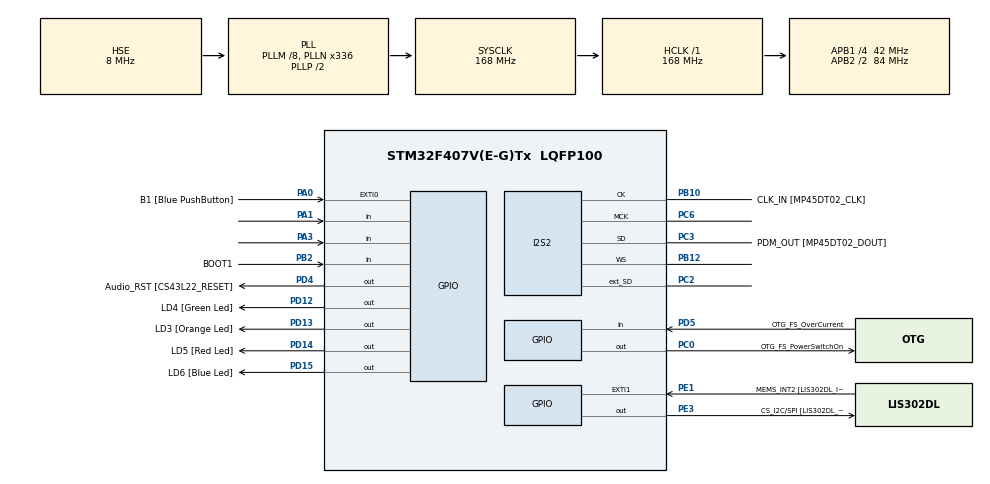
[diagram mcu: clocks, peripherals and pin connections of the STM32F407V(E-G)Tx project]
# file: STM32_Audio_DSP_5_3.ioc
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Dma.I2S2_EXT_RX.0.Direction=DMA_PERIPH_TO_MEMORY
Dma.I2S2_EXT_RX.0.FIFOMode=DMA_FIFOMODE_DISABLE
Dma.I2S2_EXT_RX.0.Instance=DMA1_Stream3
Dma.I2S2_EXT_RX.0.MemDataAlignment=DMA_MDATAALIGN_HALFWORD
Dma.I2S2_EXT_RX.0.MemInc=DMA_MINC_ENABLE
Dma.I2S2_EXT_RX.0.Mode=DMA_CIRCULAR
Dma.I2S2_EXT_RX.0.PeriphDataAlignment=DMA_PDATAALIGN_HALFWORD
Dma.I2S2_EXT_RX.0.PeriphInc=DMA_PINC_DISABLE
Dma.I2S2_EXT_RX.0.Priority=DMA_PRIORITY_HIGH
Dma.Request0=I2S2_EXT_RX
Dma.Request1=SPI2_TX
Dma.SPI2_TX.1.Direction=DMA_MEMORY_TO_PERIPH
Dma.SPI2_TX.1.FIFOMode=DMA_FIFOMODE_DISABLE
Dma.SPI2_TX.1.Instance=DMA1_Stream4
Dma.SPI2_TX.1.MemDataAlignment=DMA_MDATAALIGN_HALFWORD
Dma.SPI2_TX.1.MemInc=DMA_MINC_ENABLE
Dma.SPI2_TX.1.Mode=DMA_CIRCULAR
Dma.SPI2_TX.1.PeriphDataAlignment=DMA_PDATAALIGN_HALFWORD
Dma.SPI2_TX.1.PeriphInc=DMA_PINC_DISABLE
Dma.SPI2_TX.1.Priority=DMA_PRIORITY_HIGH
I2S2.AudioFreq=I2S_AUDIOFREQ_96K
I2S2.DataFormat=I2S_DATAFORMAT_24B
I2S2.ErrorAudioFreq=-2.34 %
I2S2.FullDuplexMode=I2S_FULLDUPLEXMODE_ENABLE
I2S2.Instance=SPI$Index
I2S2.RealAudioFreq=93.75 KHz
I2S2.VirtualMode=I2S_MODE_MASTER
Mcu.Family=STM32F4
Mcu.Name=STM32F407V(E-G)Tx
Mcu.Package=LQFP100
NVIC.DMA1_Stream3_IRQn=true\:0\:0\:false\:false\:true\:false\:true
NVIC.DMA1_Stream4_IRQn=true\:0\:0\:false\:false\:true\:false\:true
NVIC.PriorityGroup=NVIC_PRIORITYGROUP_0
PA0-WKUP.GPIO_Label=B1 [Blue PushButton]
PA0-WKUP.GPIO_ModeDefaultEXTI=GPIO_MODE_EVT_RISING
PA0-WKUP.GPIO_PuPd=GPIO_NOPULL
PA0-WKUP.Signal=GPXTI0
PA1.Signal=GPIO_Input
PA10.GPIO_Label=OTG_FS_ID
PA10.GPIO_Mode=GPIO_MODE_AF_PP
PA10.GPIO_PuPd=GPIO_NOPULL
PA10.GPIO_Speed=GPIO_SPEED_FREQ_LOW
PA10.Signal=USB_OTG_FS_ID
PA11.GPIO_Label=OTG_FS_DM
PA11.GPIO_Mode=GPIO_MODE_AF_PP
PA11.GPIO_PuPd=GPIO_NOPULL
PA11.GPIO_Speed=GPIO_SPEED_FREQ_LOW
PA11.Signal=USB_OTG_FS_DM
PA12.GPIO_Label=OTG_FS_DP
PA12.GPIO_Mode=GPIO_MODE_AF_PP
PA12.GPIO_PuPd=GPIO_NOPULL
PA12.GPIO_Speed=GPIO_SPEED_FREQ_LOW
PA12.Signal=USB_OTG_FS_DP
PA13.GPIO_Label=SWDIO
PA13.Mode=Serial_Wire
PA13.Signal=SYS_JTMS-SWDIO
PA14.GPIO_Label=SWCLK
PA14.Mode=Serial_Wire
PA14.Signal=SYS_JTCK-SWCLK
PA3.Signal=GPIO_Input
PA4.GPIO_Label=I2S3_WS [CS43L22_LRCK]
PA4.GPIO_Mode=GPIO_MODE_AF_PP
PA4.GPIO_PuPd=GPIO_NOPULL
PA4.GPIO_Speed=GPIO_SPEED_FREQ_LOW
PA4.Signal=I2S3_WS
PA5.GPIO_Label=SPI1_SCK [LIS302DL_SCL/SPC]
PA5.GPIO_Mode=GPIO_MODE_AF_PP
PA5.GPIO_PuPd=GPIO_NOPULL
PA5.GPIO_Speed=GPIO_SPEED_FREQ_LOW
PA5.Signal=SPI1_SCK
PA6.GPIO_Label=SPI1_MISO [LIS302DL_SDO]
PA6.GPIO_Mode=GPIO_MODE_AF_PP
PA6.GPIO_PuPd=GPIO_NOPULL
PA6.GPIO_Speed=GPIO_SPEED_FREQ_LOW
PA6.Signal=SPI1_MISO
PA7.GPIO_Label=SPI1_MOSI [LIS302DL_SDA/SDI/SDO]
PA7.GPIO_Mode=GPIO_MODE_AF_PP
PA7.GPIO_PuPd=GPIO_NOPULL
PA7.GPIO_Speed=GPIO_SPEED_FREQ_LOW
PA7.Signal=SPI1_MOSI
PA9.GPIO_Label=VBUS_FS
PA9.GPIO_Mode=GPIO_MODE_INPUT
PA9.GPIO_PuPd=GPIO_NOPULL
PA9.Signal=USB_OTG_FS_VBUS
PB10.GPIO_Label=CLK_IN [MP45DT02_CLK]
PB10.GPIO_Mode=GPIO_MODE_AF_PP
PB10.GPIO_PuPd=GPIO_NOPULL
PB10.GPIO_Speed=GPIO_SPEED_FREQ_VERY_HIGH
PB10.Mode=Full_Duplex_Master
PB10.Signal=I2S2_CK
PB12.GPIO_Speed=GPIO_SPEED_FREQ_VERY_HIGH
PB12.Mode=Full_Duplex_Master
PB12.Signal=I2S2_WS
PB2.GPIO_Label=BOOT1
PB2.GPIO_Mode=GPIO_MODE_INPUT
PB2.GPIO_PuPd=GPIO_NOPULL
PB2.Signal=GPIO_Input
PB3.GPIO_Label=SWO
PB3.Signal=SYS_JTDO-SWO
PB6.GPIO_Label=Audio_SCL [CS43L22_SCL]
PB6.GPIO_Mode=GPIO_MODE_AF_OD
PB6.GPIO_PuPd=GPIO_NOPULL
PB6.GPIO_Speed=GPIO_SPEED_FREQ_LOW
PB6.Signal=I2C1_SCL
PB9.GPIO_Label=Audio_SDA [CS43L22_SDA]
PB9.GPIO_Mode=GPIO_MODE_AF_OD
PB9.GPIO_PuPd=GPIO_NOPULL
PB9.GPIO_Speed=GPIO_SPEED_FREQ_LOW
PB9.Signal=I2C1_SDA
PC0.GPIO_Label=OTG_FS_PowerSwitchOn
PC0.GPIO_PuPd=GPIO_NOPULL
PC0.GPIO_Speed=GPIO_SPEED_FREQ_LOW
PC0.PinState=GPIO_PIN_SET
PC0.Signal=GPIO_Output
PC10.GPIO_Label=I2S3_SCK [CS43L22_SCLK]
PC10.GPIO_Mode=GPIO_MODE_AF_PP
PC10.GPIO_PuPd=GPIO_NOPULL
PC10.GPIO_Speed=GPIO_SPEED_FREQ_LOW
PC10.Signal=I2S3_CK
PC12.GPIO_Label=I2S3_SD [CS43L22_SDIN]
PC12.GPIO_Mode=GPIO_MODE_AF_PP
PC12.GPIO_PuPd=GPIO_NOPULL
PC12.GPIO_Speed=GPIO_SPEED_FREQ_LOW
PC12.Signal=I2S3_SD
PC14-OSC32_IN.GPIO_Label=PC14-OSC32_IN
PC14-OSC32_IN.Mode=LSE-External-Oscillator
PC14-OSC32_IN.Signal=RCC_OSC32_IN
PC15-OSC32_OUT.GPIO_Label=PC15-OSC32_OUT
PC15-OSC32_OUT.Mode=LSE-External-Oscillator
PC15-OSC32_OUT.Signal=RCC_OSC32_OUT
PC2.GPIO_Speed=GPIO_SPEED_FREQ_VERY_HIGH
PC2.Mode=Full_Duplex_Master
PC2.Signal=I2S2_ext_SD
PC3.GPIO_Label=PDM_OUT [MP45DT02_DOUT]
PC3.GPIO_Mode=GPIO_MODE_AF_PP
PC3.GPIO_PuPd=GPIO_NOPULL
PC3.GPIO_Speed=GPIO_SPEED_FREQ_VERY_HIGH
PC3.Mode=Full_Duplex_Master
PC3.Signal=I2S2_SD
PC6.GPIO_Speed=GPIO_SPEED_FREQ_VERY_HIGH
PC6.Mode=Master_Clock_Activated
PC6.Signal=I2S2_MCK
PC7.GPIO_Label=I2S3_MCK [CS43L22_MCLK]
PC7.GPIO_Mode=GPIO_MODE_AF_PP
PC7.GPIO_PuPd=GPIO_NOPULL
PC7.GPIO_Speed=GPIO_SPEED_FREQ_LOW
PC7.Signal=I2S3_MCK
PD12.GPIO_Label=LD4 [Green Led]
PD12.GPIO_PuPd=GPIO_NOPULL
PD12.GPIO_Speed=GPIO_SPEED_FREQ_LOW
PD12.Signal=GPIO_Output
PD13.GPIO_Label=LD3 [Orange Led]
PD13.GPIO_PuPd=GPIO_NOPULL
PD13.GPIO_Speed=GPIO_SPEED_FREQ_LOW
PD13.Signal=GPIO_Output
PD14.GPIO_Label=LD5 [Red Led]
PD14.GPIO_PuPd=GPIO_NOPULL
PD14.GPIO_Speed=GPIO_SPEED_FREQ_LOW
PD14.Signal=GPIO_Output
PD15.GPIO_Label=LD6 [Blue Led]
PD15.GPIO_PuPd=GPIO_NOPULL
PD15.GPIO_Speed=GPIO_SPEED_FREQ_LOW
PD15.Signal=GPIO_Output
PD4.GPIO_Label=Audio_RST [CS43L22_RESET]
PD4.GPIO_PuPd=GPIO_NOPULL
PD4.GPIO_Speed=GPIO_SPEED_FREQ_LOW
PD4.Signal=GPIO_Output
PD5.GPIO_Label=OTG_FS_OverCurrent
PD5.GPIO_Mode=GPIO_MODE_INPUT
PD5.GPIO_PuPd=GPIO_NOPULL
PD5.Signal=GPIO_Input
PE1.GPIO_Label=MEMS_INT2 [LIS302DL_INT2]
PE1.GPIO_ModeDefaultEXTI=GPIO_MODE_EVT_RISING
PE1.GPIO_PuPd=GPIO_NOPULL
PE1.Signal=GPXTI1
PE3.GPIO_Label=CS_I2C/SPI [LIS302DL_CS_I2C/SPI]
PE3.GPIO_PuPd=GPIO_NOPULL
PE3.GPIO_Speed=GPIO_SPEED_FREQ_VERY_HIGH
PE3.Signal=GPIO_Output
PH0-OSC_IN.GPIO_Label=PH0-OSC_IN
PH0-OSC_IN.Mode=HSE-External-Oscillator
PH0-OSC_IN.Signal=RCC_OSC_IN
PH1-OSC_OUT.GPIO_Label=PH1-OSC_OUT
PH1-OSC_OUT.Mode=HSE-External-Oscillator
PH1-OSC_OUT.Signal=RCC_OSC_OUT
ProjectManager.HeapSize=0x200
ProjectManager.StackSize=0x400
ProjectManager.TargetToolchain=STM32CubeIDE
RCC.48MHZClocksFreq_Value=48000000
RCC.AHBFreq_Value=168000000
RCC.APB1CLKDivider=RCC_HCLK_DIV4
RCC.APB1Freq_Value=42000000
RCC.APB1TimFreq_Value=84000000
RCC.APB2CLKDivider=RCC_HCLK_DIV2
RCC.APB2Freq_Value=84000000
RCC.APB2TimFreq_Value=168000000
RCC.CortexFreq_Value=168000000
RCC.HCLKFreq_Value=168000000
RCC.HSE_VALUE=8000000
RCC.HSI_VALUE=16000000
RCC.PLLM=8
RCC.PLLN=336
RCC.PLLQ=7
RCC.PLLSourceVirtual=RCC_PLLSOURCE_HSE
RCC.SYSCLKFreq_VALUE=168000000
RCC.SYSCLKSource=RCC_SYSCLKSOURCE_PLLCLK
RCC.VCOOutputFreq_Value=336000000
board=STM32F407G-DISC1

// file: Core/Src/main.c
/* USER CODE BEGIN Header */
/**
 ******************************************************************************
 * @file           : main.c
 * USER CODE BEGIN Header */
/**
 ******************************************************************************
 * @file           : main.c
 * @brief          : Main program body
 ******************************************************************************
 * @attention
 *
 * <h2><center>&copy; Copyright (c) 2021 STMicroelectronics.
 * All rights reserved.</center></h2>
 *
 * This software component is licensed by ST under Ultimate Liberty license
 * SLA0044, the "License"; You may not use this file except in compliance with
 * the License. You may obtain a copy of the License at:
 *                             www.st.com/SLA0044
 *
 ******************************************************************************
 */
/* USER CODE END Header */
#include "main.h"

I2S_HandleTypeDef hi2s2;
DMA_HandleTypeDef hdma_i2s2_ext_rx;
DMA_HandleTypeDef hdma_spi2_tx;

void SystemClock_Config(void);
static void MX_GPIO_Init(void);
static void MX_DMA_Init(void);
static void MX_I2S2_Init(void);
/* USER CODE BEGIN PFP */
float l_b0, l_b1, l_b2, l_a1, l_a2, l_in_z1, l_in_z2, l_out_z1, l_out_z2;
float r_b0, r_b1, r_b2, r_a1, r_a2, r_in_z1, r_in_z2, r_out_z1, r_out_z2;

uint16_t receiveBuffer[8];
uint16_t transmitBuffer[8];
/* USER CODE END PFP */

/* USER CODE BEGIN 0 */
int IIR_filter_left(int inSample)
{
	float inSampleF = (float) inSample;
	float outSampleF = l_b0 * inSampleF + l_b1 * l_in_z1 + l_b2 * l_in_z2 - l_a1 * l_out_z1 - l_a2 * l_out_z2;
	l_in_z2 = l_in_z1;
	l_in_z1 = inSampleF;
	l_out_z2 = l_out_z1;
	l_out_z1 = outSampleF;

	return (int) outSampleF;
}

int IIR_filter_right(int inSample)
{
	float inSampleF = (float) inSample;
	float outSampleF = r_b0 * inSampleF + r_b1 * r_in_z1 + r_b2 * r_in_z2 - r_a1 * r_out_z1 - r_a2 * r_out_z2;
	r_in_z2 = r_in_z1;
	r_in_z1 = inSampleF;
	r_out_z2 = r_out_z1;
	r_out_z1 = outSampleF;

	return (int) outSampleF;
}

void HAL_I2SEx_TxRxHalfCpltCallback(I2S_HandleTypeDef *hi2s)
{

	//restore signed 24 bit sample from 16-bit buffers
	int leftSample = (int) (receiveBuffer[0] << 16) | receiveBuffer[1];
	int rightSample = (int) (receiveBuffer[2] << 16) | receiveBuffer[3];

	// divide by 2 (rightshift) -> -3dB per sample
	leftSample = leftSample >> 1;
	rightSample = rightSample >> 1;

	//sum to mono
	leftSample = rightSample + leftSample;
	rightSample = leftSample;

	//run HP on left channel and LP on right channel
	leftSample = IIR_filter_left(leftSample);
	rightSample = IIR_filter_right(rightSample);

	//restore to buffer
	transmitBuffer[0] = (leftSample >> 16) & 0xFFFF;
	transmitBuffer[1] = leftSample & 0xFFFF;
	transmitBuffer[2] = (rightSample >> 16) & 0xFFFF;
	transmitBuffer[3] = rightSample & 0xFFFF;
}

void HAL_I2SEx_TxRxCpltCallback(I2S_HandleTypeDef *hi2s)
{

	//restore signed 24 bit sample from 16-bit buffers
	int lSample = (int) (receiveBuffer[4] << 16) | receiveBuffer[5];
	int rSample = (int) (receiveBuffer[6] << 16) | receiveBuffer[7];

	// divide by 2 (rightshift) -> -3dB per sample
	lSample = lSample >> 1;
	rSample = rSample >> 1;

	//sum to mono
	lSample = rSample + lSample;
	rSample = lSample;

	//run HP on left channel and LP on right channel
	lSample = IIR_filter_left(lSample);
	rSample = IIR_filter_right(rSample);

	//restore to buffer
	transmitBuffer[4] = (lSample >> 16) & 0xFFFF;
	transmitBuffer[5] = lSample & 0xFFFF;
	transmitBuffer[6] = (rSample >> 16) & 0xFFFF;
	transmitBuffer[7] = rSample & 0xFFFF;
}
/* USER CODE END 0 */

int main(void)
{

	/* MCU Configuration--------------------------------------------------------*/

	/* Reset of all peripherals, Initializes the Flash interface and the Systick. */
	HAL_Init();

	/* Configure the system clock */
	SystemClock_Config();

	/* Initialize all configured peripherals */
	MX_GPIO_Init();
	MX_DMA_Init();
	MX_I2S2_Init();
	/* USER CODE BEGIN 2 */
	HAL_I2SEx_TransmitReceive_DMA(&hi2s2, transmitBuffer, receiveBuffer, 4);

	//left-channel, High-Pass, 1kHz, fs=96kHz, 6dB gain
	l_a1 = -1.906833264418934300f;
	l_a2 = 0.910988023112541900f;
	l_b0 = 1.904390807532743590f;
	l_b1 = -3.808773325232035050f;
	l_b2 = 1.904390807532743590f;

	//right-channel, Low-Pass, 1kHz, fs=96 kHz, 6dB gain
	r_a1 = -1.907661506666765700f;
	r_a2 = 0.911744272786167320f;
	r_b0 = 0.003941726449675004f;
	r_b1 = 0.000262736479523942f;
	r_b2 = 0.003941726449675004f;

	/* USER CODE END 2 */

	/* Infinite loop */
	while (1)
	{
		HAL_Delay(2000);
//		if (HAL_GPIO_ReadPin(GPIOA, GPIO_PIN_1) == 1)
//		{
		//left-channel, High-Pass, 1kHz, fs=96kHz, q=0.7
		//left-channel, High-Pass, 1kHz, fs=96kHz, 6dB gain
		l_a1 = -1.906833264418934300f;
		l_a2 = 0.910988023112541900f;
		l_b0 = 1.904390807532743590f;
		l_b1 = -3.808773325232035050f;
		l_b2 = 1.904390807532743590f;

		//right-channel, Low-Pass, 1kHz, fs=96 kHz, 6dB gain
		r_a1 = -1.907661506666765700f;
		r_a2 = 0.911744272786167320f;
		r_b0 = 0.003941726449675004f;
		r_b1 = 0.000262736479523942f;
		r_b2 = 0.003941726449675004f;
//		}
//		else
//		{
		HAL_Delay(2000);

		//left-channel, High-Pass, 2kHz, fs=96kHz, 6dB gain
		l_a1 = -1.814448746260680870f;
		l_a2 = 0.830272350139270143f;
		l_b0 = 1.818051556114848920f;
		l_b1 = -3.636071539989181640f;
		l_b2 = 1.818051556114848920f;

		//right-channel, Low-Pass, 2kHz, fs=96 kHz, 6dB gain
		r_a1 = -1.816089287935643170f;
		r_a2 = 0.831645104057007201f;
		r_b0 = 0.009579030163824585f;
		r_b1 = 0.011879873357893813f;
		r_b2 = 0.009579030163824585f;

//	}
	}
}

void SystemClock_Config(void)
{
	RCC_OscInitTypeDef RCC_OscInitStruct =
	{ 0 };
	RCC_ClkInitTypeDef RCC_ClkInitStruct =
	{ 0 };
	RCC_PeriphCLKInitTypeDef PeriphClkInitStruct =
	{ 0 };

	/** Configure the main internal regulator output voltage
	 */
	__HAL_RCC_PWR_CLK_ENABLE();
	__HAL_PWR_VOLTAGESCALING_CONFIG(PWR_REGULATOR_VOLTAGE_SCALE1);
	/** Initializes the RCC Oscillators according to the specified parameters
	 * in the RCC_OscInitTypeDef structure.
	 */
	RCC_OscInitStruct.OscillatorType = RCC_OSCILLATORTYPE_HSE;
	RCC_OscInitStruct.HSEState = RCC_HSE_ON;
	RCC_OscInitStruct.PLL.PLLState = RCC_PLL_ON;
	RCC_OscInitStruct.PLL.PLLSource = RCC_PLLSOURCE_HSE;
	RCC_OscInitStruct.PLL.PLLM = 8;
	RCC_OscInitStruct.PLL.PLLN = 336;
	RCC_OscInitStruct.PLL.PLLP = RCC_PLLP_DIV2;
	RCC_OscInitStruct.PLL.PLLQ = 7;
	if (HAL_RCC_OscConfig(&RCC_OscInitStruct) != HAL_OK)
	{
		Error_Handler();
	}
	/** Initializes the CPU, AHB and APB buses clocks
	 */
	RCC_ClkInitStruct.ClockType = RCC_CLOCKTYPE_HCLK | RCC_CLOCKTYPE_SYSCLK | RCC_CLOCKTYPE_PCLK1 | RCC_CLOCKTYPE_PCLK2;
	RCC_ClkInitStruct.SYSCLKSource = RCC_SYSCLKSOURCE_PLLCLK;
	RCC_ClkInitStruct.AHBCLKDivider = RCC_SYSCLK_DIV1;
	RCC_ClkInitStruct.APB1CLKDivider = RCC_HCLK_DIV4;
	RCC_ClkInitStruct.APB2CLKDivider = RCC_HCLK_DIV2;

	if (HAL_RCC_ClockConfig(&RCC_ClkInitStruct, FLASH_LATENCY_5) != HAL_OK)
	{
		Error_Handler();
	}
	PeriphClkInitStruct.PeriphClockSelection = RCC_PERIPHCLK_I2S;
	PeriphClkInitStruct.PLLI2S.PLLI2SN = 192;
	PeriphClkInitStruct.PLLI2S.PLLI2SR = 2;
	if (HAL_RCCEx_PeriphCLKConfig(&PeriphClkInitStruct) != HAL_OK)
	{
		Error_Handler();
	}
}

static void MX_I2S2_Init(void)
{

	hi2s2.Instance = SPI2;
	hi2s2.Init.Mode = I2S_MODE_MASTER_TX;
	hi2s2.Init.Standard = I2S_STANDARD_PHILIPS;
	hi2s2.Init.DataFormat = I2S_DATAFORMAT_24B;
	hi2s2.Init.MCLKOutput = I2S_MCLKOUTPUT_ENABLE;
	hi2s2.Init.AudioFreq = I2S_AUDIOFREQ_96K;
	hi2s2.Init.CPOL = I2S_CPOL_LOW;
	hi2s2.Init.ClockSource = I2S_CLOCK_PLL;
	hi2s2.Init.FullDuplexMode = I2S_FULLDUPLEXMODE_ENABLE;
	if (HAL_I2S_Init(&hi2s2) != HAL_OK)
	{
		Error_Handler();
	}

}

static void MX_DMA_Init(void)
{

	/* DMA controller clock enable */
	__HAL_RCC_DMA1_CLK_ENABLE();

	/* DMA interrupt init */
	/* DMA1_Stream3_IRQn interrupt configuration */
	HAL_NVIC_SetPriority(DMA1_Stream3_IRQn, 0, 0);
	HAL_NVIC_EnableIRQ(DMA1_Stream3_IRQn);
	/* DMA1_Stream4_IRQn interrupt configuration */
	HAL_NVIC_SetPriority(DMA1_Stream4_IRQn, 0, 0);
	HAL_NVIC_EnableIRQ(DMA1_Stream4_IRQn);

}

static void MX_GPIO_Init(void)
{
	GPIO_InitTypeDef GPIO_InitStruct =
	{ 0 };

	/* GPIO Ports Clock Enable */
	__HAL_RCC_GPIOE_CLK_ENABLE();
	__HAL_RCC_GPIOC_CLK_ENABLE();
	__HAL_RCC_GPIOH_CLK_ENABLE();
	__HAL_RCC_GPIOA_CLK_ENABLE();
	__HAL_RCC_GPIOB_CLK_ENABLE();
	__HAL_RCC_GPIOD_CLK_ENABLE();

	/*Configure GPIO pin Output Level */
	HAL_GPIO_WritePin(CS_I2C_SPI_GPIO_Port, CS_I2C_SPI_Pin, GPIO_PIN_RESET);

	/*Configure GPIO pin Output Level */
	HAL_GPIO_WritePin(OTG_FS_PowerSwitchOn_GPIO_Port, OTG_FS_PowerSwitchOn_Pin, GPIO_PIN_SET);

	/*Configure GPIO pin Output Level */
	HAL_GPIO_WritePin(GPIOD, LD4_Pin | LD3_Pin | LD5_Pin | LD6_Pin | Audio_RST_Pin, GPIO_PIN_RESET);

	/*Configure GPIO pin : CS_I2C_SPI_Pin */
	GPIO_InitStruct.Pin = CS_I2C_SPI_Pin;
	GPIO_InitStruct.Mode = GPIO_MODE_OUTPUT_PP;
	GPIO_InitStruct.Pull = GPIO_NOPULL;
	GPIO_InitStruct.Speed = GPIO_SPEED_FREQ_VERY_HIGH;
	HAL_GPIO_Init(CS_I2C_SPI_GPIO_Port, &GPIO_InitStruct);

	/*Configure GPIO pin : OTG_FS_PowerSwitchOn_Pin */
	GPIO_InitStruct.Pin = OTG_FS_PowerSwitchOn_Pin;
	GPIO_InitStruct.Mode = GPIO_MODE_OUTPUT_PP;
	GPIO_InitStruct.Pull = GPIO_NOPULL;
	GPIO_InitStruct.Speed = GPIO_SPEED_FREQ_LOW;
	HAL_GPIO_Init(OTG_FS_PowerSwitchOn_GPIO_Port, &GPIO_InitStruct);

	/*Configure GPIO pin : B1_Pin */
	GPIO_InitStruct.Pin = B1_Pin;
	GPIO_InitStruct.Mode = GPIO_MODE_EVT_RISING;
	GPIO_InitStruct.Pull = GPIO_NOPULL;
	HAL_GPIO_Init(B1_GPIO_Port, &GPIO_InitStruct);

	/*Configure GPIO pins : PA1 PA3 */
	GPIO_InitStruct.Pin = GPIO_PIN_1 | GPIO_PIN_3;
	GPIO_InitStruct.Mode = GPIO_MODE_INPUT;
	GPIO_InitStruct.Pull = GPIO_NOPULL;
	HAL_GPIO_Init(GPIOA, &GPIO_InitStruct);

	/*Configure GPIO pin : I2S3_WS_Pin */
	GPIO_InitStruct.Pin = I2S3_WS_Pin;
	GPIO_InitStruct.Mode = GPIO_MODE_AF_PP;
	GPIO_InitStruct.Pull = GPIO_NOPULL;
	GPIO_InitStruct.Speed = GPIO_SPEED_FREQ_LOW;
	GPIO_InitStruct.Alternate = GPIO_AF6_SPI3;
	HAL_GPIO_Init(I2S3_WS_GPIO_Port, &GPIO_InitStruct);

	/*Configure GPIO pins : SPI1_SCK_Pin SPI1_MISO_Pin SPI1_MOSI_Pin */
	GPIO_InitStruct.Pin = SPI1_SCK_Pin | SPI1_MISO_Pin | SPI1_MOSI_Pin;
	GPIO_InitStruct.Mode = GPIO_MODE_AF_PP;
	GPIO_InitStruct.Pull = GPIO_NOPULL;
	GPIO_InitStruct.Speed = GPIO_SPEED_FREQ_LOW;
	GPIO_InitStruct.Alternate = GPIO_AF5_SPI1;
	HAL_GPIO_Init(GPIOA, &GPIO_InitStruct);

	/*Configure GPIO pin : BOOT1_Pin */
	GPIO_InitStruct.Pin = BOOT1_Pin;
	GPIO_InitStruct.Mode = GPIO_MODE_INPUT;
	GPIO_InitStruct.Pull = GPIO_NOPULL;
	HAL_GPIO_Init(BOOT1_GPIO_Port, &GPIO_InitStruct);

	/*Configure GPIO pins : LD4_Pin LD3_Pin LD5_Pin LD6_Pin
	 Audio_RST_Pin */
	GPIO_InitStruct.Pin = LD4_Pin | LD3_Pin | LD5_Pin | LD6_Pin | Audio_RST_Pin;
	GPIO_InitStruct.Mode = GPIO_MODE_OUTPUT_PP;
	GPIO_InitStruct.Pull = GPIO_NOPULL;
	GPIO_InitStruct.Speed = GPIO_SPEED_FREQ_LOW;
	HAL_GPIO_Init(GPIOD, &GPIO_InitStruct);

	/*Configure GPIO pins : I2S3_MCK_Pin I2S3_SCK_Pin I2S3_SD_Pin */
	GPIO_InitStruct.Pin = I2S3_MCK_Pin | I2S3_SCK_Pin | I2S3_SD_Pin;
	GPIO_InitStruct.Mode = GPIO_MODE_AF_PP;
	GPIO_InitStruct.Pull = GPIO_NOPULL;
	GPIO_InitStruct.Speed = GPIO_SPEED_FREQ_LOW;
	GPIO_InitStruct.Alternate = GPIO_AF6_SPI3;
	HAL_GPIO_Init(GPIOC, &GPIO_InitStruct);

	/*Configure GPIO pin : VBUS_FS_Pin */
	GPIO_InitStruct.Pin = VBUS_FS_Pin;
	GPIO_InitStruct.Mode = GPIO_MODE_INPUT;
	GPIO_InitStruct.Pull = GPIO_NOPULL;
	HAL_GPIO_Init(VBUS_FS_GPIO_Port, &GPIO_InitStruct);

	/*Configure GPIO pins : OTG_FS_ID_Pin OTG_FS_DM_Pin OTG_FS_DP_Pin */
	GPIO_InitStruct.Pin = OTG_FS_ID_Pin | OTG_FS_DM_Pin | OTG_FS_DP_Pin;
	GPIO_InitStruct.Mode = GPIO_MODE_AF_PP;
	GPIO_InitStruct.Pull = GPIO_NOPULL;
	GPIO_InitStruct.Speed = GPIO_SPEED_FREQ_LOW;
	GPIO_InitStruct.Alternate = GPIO_AF10_OTG_FS;
	HAL_GPIO_Init(GPIOA, &GPIO_InitStruct);

	/*Configure GPIO pin : OTG_FS_OverCurrent_Pin */
	GPIO_InitStruct.Pin = OTG_FS_OverCurrent_Pin;
	GPIO_InitStruct.Mode = GPIO_MODE_INPUT;
	GPIO_InitStruct.Pull = GPIO_NOPULL;
	HAL_GPIO_Init(OTG_FS_OverCurrent_GPIO_Port, &GPIO_InitStruct);

	/*Configure GPIO pins : Audio_SCL_Pin Audio_SDA_Pin */
	GPIO_InitStruct.Pin = Audio_SCL_Pin | Audio_SDA_Pin;
	GPIO_InitStruct.Mode = GPIO_MODE_AF_OD;
	GPIO_InitStruct.Pull = GPIO_PULLUP;
	GPIO_InitStruct.Speed = GPIO_SPEED_FREQ_LOW;
	GPIO_InitStruct.Alternate = GPIO_AF4_I2C1;
	HAL_GPIO_Init(GPIOB, &GPIO_InitStruct);

	/*Configure GPIO pin : MEMS_INT2_Pin */
	GPIO_InitStruct.Pin = MEMS_INT2_Pin;
	GPIO_InitStruct.Mode = GPIO_MODE_EVT_RISING;
	GPIO_InitStruct.Pull = GPIO_NOPULL;
	HAL_GPIO_Init(MEMS_INT2_GPIO_Port, &GPIO_InitStruct);

}

void Error_Handler(void)
{
	__disable_irq();
	while (1)
	{
	}
}

/************************ (C) COPYRIGHT STMicroelectronics *****END OF FILE****/
